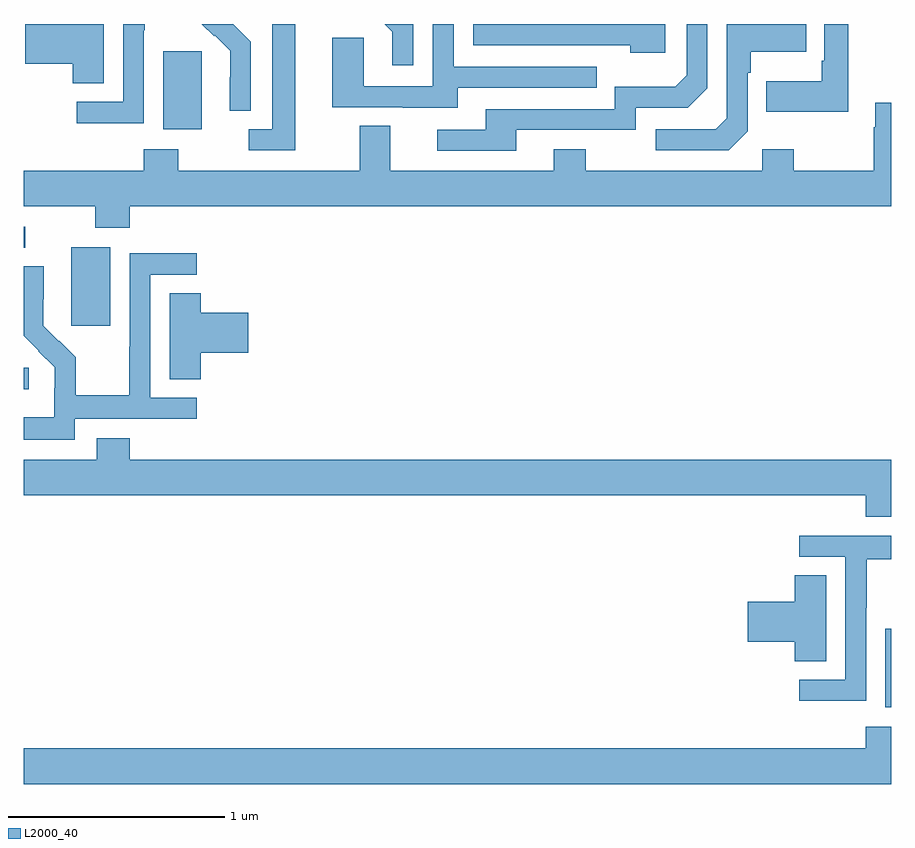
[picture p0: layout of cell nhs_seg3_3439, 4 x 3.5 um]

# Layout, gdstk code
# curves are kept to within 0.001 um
import gdstk
lib = gdstk.Library(unit=1e-6, precision=1e-09)
def R(c, l, rs):  # rectangles x0, y0, x1, y1
    for r in rs: c.add(gdstk.rectangle(r[:2], r[2:], *l))
def P(c, l, *ps):  # polygons
    for p in ps: c.add(gdstk.Polygon(p, *l))
L2000_40 = (2000, 40)

nhs_seg3_3439 = lib.new_cell('nhs_seg3_3439')
R(nhs_seg3_3439, L2000_40, [(292.973,721.25,293,721.611), (289,722.717,289.024,722.814), (289.22,723.009,289.399,723.37), (289,723.369,289.006,723.465), (289.643,723.914,289.822,724.275)])
P(nhs_seg3_3439, L2000_40, [(291.958,724.398),(291.181,724.398),(291.181,724.4),(291.072,724.4),(291.072,724.302),(291.797,724.302),(291.797,724.268),(291.958,724.268)],
  [(290.251,724.4),(290.147,724.4),(290.147,723.915),(290.037,723.915),(290.037,723.819),(290.251,723.819)],
  [(290.796,724.4),(290.664,724.4),(290.699,724.365),(290.699,724.209),(290.796,724.209)],
  [(292.801,724.4),(292.692,724.4),(292.692,724.231),(292.68,724.231),(292.68,724.135),(292.423,724.135),(292.423,723.995),(292.801,723.995)],
  [(291.001,724.107),(291.641,724.107),(291.641,724.203),(290.982,724.203),(290.982,724.4),(290.886,724.4),(290.886,724.113),(290.568,724.113),(290.568,724.337),(290.423,724.337),(290.423,724.017),(290.747,724.017),(290.747,724.013),(291.001,724.013)],
  [(291.271,723.912),(291.822,723.912),(291.822,724.014),(292.062,724.014),(292.152,724.104),(292.152,724.4),(292.056,724.4),(292.056,724.164),(292.003,724.111),(291.726,724.111),(291.726,724.008),(291.131,724.008),(291.131,723.912),(290.907,723.912),(290.907,723.816),(291.271,723.816)],
  [(292.338,723.906),(292.338,724.175),(292.351,724.175),(292.351,724.271),(292.607,724.271),(292.607,724.4),(292.242,724.4),(292.242,723.966),(292.191,723.915),(291.915,723.915),(291.915,723.819),(292.251,723.819)],
  [(289.369,724.4),(289.008,724.4),(289.008,724.217),(289.226,724.217),(289.226,724.126),(289.369,724.126)],
  [(290.046,724.318),(289.973,724.391),(289.974,724.392),(289.966,724.4),(289.822,724.4),(289.878,724.344),(289.881,724.347),(289.952,724.277),(289.952,724.154),(289.95,724.154),(289.95,724),(290.046,724)],
  [(289.554,724.372),(289.557,724.372),(289.557,724.4),(289.458,724.4),(289.458,724.041),(289.245,724.041),(289.245,723.943),(289.554,723.943)],
  [(289.49,723.56),(293,723.56),(293,724.036),(292.925,724.036),(292.925,723.923),(292.918,723.923),(292.918,723.724),(292.551,723.724),(292.551,723.823),(292.404,723.823),(292.404,723.724),(291.591,723.724),(291.591,723.823),(291.443,723.823),(291.443,723.724),(290.689,723.724),(290.689,723.932),(290.549,723.932),(290.549,723.724),(289.713,723.724),(289.713,723.823),(289.553,723.823),(289.553,723.724),(289,723.724),(289,723.56),(289.33,723.56),(289.33,723.461),(289.49,723.461)],
  [(289.236,722.58),(289.798,722.58),(289.798,722.676),(289.584,722.676),(289.584,723.243),(289.798,723.243),(289.798,723.342),(289.488,723.342),(289.488,722.912),(289.486,722.912),(289.486,722.689),(289.241,722.689),(289.241,722.863),(289.164,722.94),(289.161,722.937),(289.091,723.008),(289.092,723.284),(289,723.284),(289,722.962),(289.142,722.818),(289.142,722.721),(289.14,722.721),(289.14,722.587),(289,722.587),(289,722.483),(289.236,722.483)],
  [(289.817,722.885),(290.035,722.885),(290.035,723.068),(289.817,723.068),(289.817,723.158),(289.673,723.158),(289.673,722.761),(289.817,722.761)],
  [(293,722.392),(289.49,722.392),(289.49,722.491),(289.337,722.491),(289.337,722.392),(289,722.392),(289,722.228),(292.883,722.228),(292.883,722.129),(293,722.129)],
  [(292.884,721.708),(292.887,721.708),(292.887,721.932),(293,721.932),(293,722.04),(292.575,722.04),(292.575,721.944),(292.788,721.944),(292.788,721.377),(292.575,721.377),(292.575,721.279),(292.884,721.279)],
  [(292.699,721.859),(292.556,721.859),(292.556,721.736),(292.338,721.736),(292.338,721.553),(292.556,721.553),(292.556,721.462),(292.699,721.462)],
  [(293,721.159),(292.883,721.159),(292.883,721.06),(289,721.06),(289,720.896),(293,720.896)])

lib.write_gds('nhs_seg3_3439.gds')
